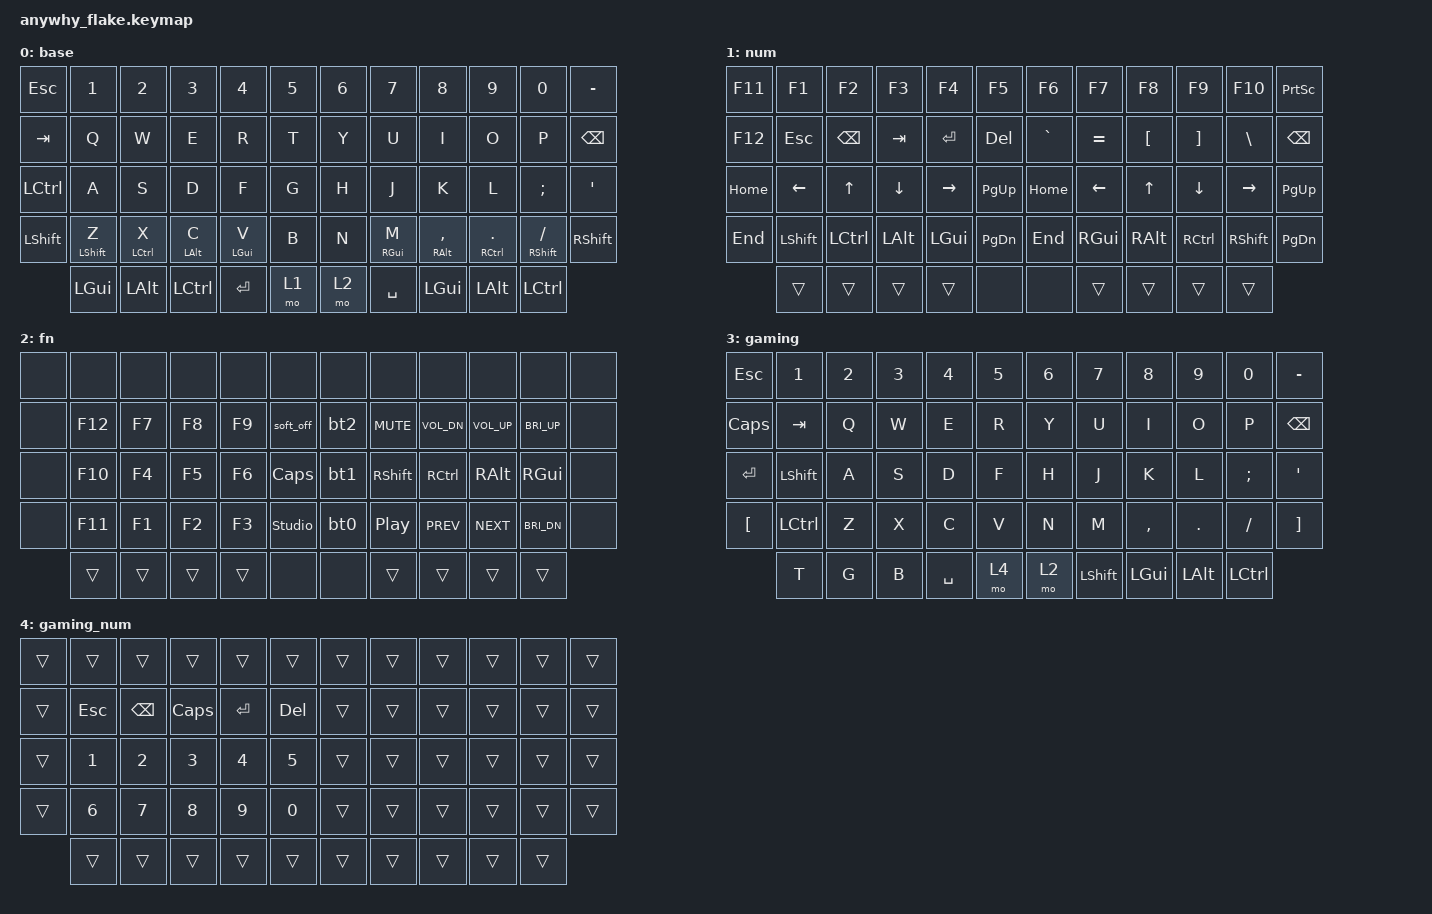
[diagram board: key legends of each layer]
#include <behaviors.dtsi>
#include <dt-bindings/zmk/bt.h>
#include <dt-bindings/zmk/keys.h>

/ {
    combos {
        compatible = "zmk,combos";

        bt_sel_3 {
            bindings = <&bt3>;
            key-positions = <42 30>;
            layers = <2>;
        };

        bt_sel_4 {
            bindings = <&bt4>;
            key-positions = <30 18>;
            layers = <2>;
        };

        enter_gaming {
            bindings = <&sl 3>;
            key-positions = <26 15 28>;
            layers = <2>;
        };

        leave_gaming {
            bindings = <&sl 0>;
            key-positions = <31 20 33>;
            layers = <4>;
        };

        grave {
            bindings = <&kp GRAVE>;
            key-positions = <13 25>;
            layers = <3>;
        };

        Combo_Backspace {
            bindings = <&kp BACKSPACE>;
            key-positions = <31 32>;
        };

        Combo_Enter {
            bindings = <&kp ENTER>;
            key-positions = <32 33>;
        };

        Combo_Tab {
            bindings = <&kp TAB>;
            key-positions = <13 14>;
        };
    };

    macros {
        bt_clr_0: bt_clr_0 {
            compatible = "zmk,behavior-macro";
            #binding-cells = <0>;
            bindings = <&bt BT_SEL 0 &bt BT_CLR>;
            label = "BT_CLR_0";
        };

        bt_clr_1: bt_clr_1 {
            compatible = "zmk,behavior-macro";
            #binding-cells = <0>;
            bindings = <&bt BT_SEL 1 &bt BT_CLR>;
            label = "BT_CLR_1";
        };

        bt_clr_2: bt_clr_2 {
            compatible = "zmk,behavior-macro";
            #binding-cells = <0>;
            bindings = <&bt BT_SEL 2 &bt BT_CLR>;
            label = "BT_CLR_2";
        };

        bt_clr_3: bt_clr_3 {
            compatible = "zmk,behavior-macro";
            #binding-cells = <0>;
            bindings = <&bt BT_SEL 3 &bt BT_CLR>;
            label = "BT_CLR_3";
        };

        bt_clr_4: bt_clr_4 {
            compatible = "zmk,behavior-macro";
            #binding-cells = <0>;
            bindings = <&bt BT_SEL 4 &bt BT_CLR>;
            label = "BT_CLR_4";
        };
    };

    behaviors {
        bt0: bt0 {
            compatible = "zmk,behavior-mod-morph";
            label = "BT0";
            bindings = <&bt BT_SEL 0>, <&bt_clr_0>;

            #binding-cells = <0>;
            mods = <(MOD_LSFT|MOD_RSFT)>;
        };

        bt1: bt1 {
            compatible = "zmk,behavior-mod-morph";
            label = "BT1";
            bindings = <&bt BT_SEL 1>, <&bt_clr_1>;

            #binding-cells = <0>;
            mods = <(MOD_LSFT|MOD_RSFT)>;
        };

        bt2: bt2 {
            compatible = "zmk,behavior-mod-morph";
            label = "BT2";
            bindings = <&bt BT_SEL 2>, <&bt_clr_2>;

            #binding-cells = <0>;
            mods = <(MOD_LSFT|MOD_RSFT)>;
        };

        bt3: bt3 {
            compatible = "zmk,behavior-mod-morph";
            label = "BT3";
            bindings = <&bt BT_SEL 3>, <&bt_clr_3>;

            #binding-cells = <0>;
            mods = <(MOD_LSFT|MOD_RSFT)>;
        };

        bt4: bt4 {
            compatible = "zmk,behavior-mod-morph";
            label = "BT4";
            bindings = <&bt BT_SEL 4>, <&bt_clr_4>;

            #binding-cells = <0>;
            mods = <(MOD_LSFT|MOD_RSFT)>;
        };

        HMR: HMR {
            compatible = "zmk,behavior-hold-tap";
            label = "HMR";
            bindings = <&kp>, <&kp>;

            #binding-cells = <2>;
            tapping-term-ms = <280>;
            quick-tap-ms = <175>;
            flavor = "tap-preferred";
            hold-trigger-on-release;
            hold-trigger-key-positions = <0 1 2 3 4 5 12 13 14 15 16 17 24 25 36 37 48 26 27 39 38 49 40 28 29 41 50 51 52 53 54 55 56 57>;
        };

        HML: HML {
            compatible = "zmk,behavior-hold-tap";
            label = "HML";
            bindings = <&kp>, <&kp>;

            #binding-cells = <2>;
            tapping-term-ms = <280>;
            quick-tap-ms = <175>;
            flavor = "tap-preferred";
            hold-trigger-key-positions = <6 7 8 9 10 11 23 35 47 46 34 22 21 33 45 56 57 55 54 53 42 43 44 32 20 19 31 30 18 52 51 50 49 48>;
            hold-trigger-on-release;
        };
    };

    keymap {
        compatible = "zmk,keymap";

        base {
            bindings = <
&kp ESC    &kp N1             &kp N2               &kp N3           &kp N4           &kp N5    &kp N6  &kp N7            &kp N8                &kp N9                  &kp N0                 &kp MINUS
&kp TAB    &kp Q              &kp W                &kp E            &kp R            &kp T     &kp Y   &kp U             &kp I                 &kp O                   &kp P                  &kp BSPC
&kp LCTRL  &kp A              &kp S                &kp D            &kp F            &kp G     &kp H   &kp J             &kp K                 &kp L                   &kp SEMI               &kp APOS
&kp LSHFT  &HML LEFT_SHIFT Z  &HML LEFT_CONTROL X  &HML LEFT_ALT C  &HML LEFT_GUI V  &kp B     &kp N   &HMR RIGHT_GUI M  &HMR RIGHT_ALT COMMA  &HMR RIGHT_CONTROL DOT  &HMR RIGHT_SHIFT FSLH  &kp RSHFT
           &kp LGUI           &kp LALT             &kp LCTRL        &kp ENTER        &mo 1     &mo 2   &kp SPACE         &kp LGUI              &kp LALT                &kp LCTRL
            >;
        };

        num {
            bindings = <
&kp F11   &kp F1          &kp F2            &kp F3        &kp F4        &kp F5           &kp F6     &kp F7         &kp F8            &kp F9             &kp F10          &kp PRINTSCREEN
&kp F12   &kp ESC         &kp BACKSPACE     &kp TAB       &kp ENTER     &kp DEL          &kp GRAVE  &kp EQUAL      &kp LEFT_BRACKET  &kp RIGHT_BRACKET  &kp BACKSLASH    &kp BACKSPACE
&kp HOME  &kp LEFT_ARROW  &kp UP_ARROW      &kp DOWN      &kp RIGHT     &kp PAGE_UP      &kp HOME   &kp LEFT       &kp UP_ARROW      &kp DOWN           &kp RIGHT        &kp PAGE_UP
&kp END   &kp LEFT_SHIFT  &kp LEFT_CONTROL  &kp LEFT_ALT  &kp LEFT_GUI  &kp PAGE_DOWN    &kp END    &kp RIGHT_GUI  &kp RIGHT_ALT     &kp RIGHT_CONTROL  &kp RIGHT_SHIFT  &kp PAGE_DOWN
          &trans          &trans            &trans        &trans        &none            &none      &trans         &trans            &trans             &trans
            >;
        };

        fn {
            bindings = <
&none  &none    &none   &none   &none   &none             &none  &none       &none         &none         &none         &none
&none  &kp F12  &kp F7  &kp F8  &kp F9  &soft_off         &bt2   &kp C_MUTE  &kp C_VOL_DN  &kp C_VOL_UP  &kp C_BRI_UP  &none
&none  &kp F10  &kp F4  &kp F5  &kp F6  &kp CAPS          &bt1   &kp RSHFT   &kp RCTRL     &kp RALT      &kp RGUI      &none
&none  &kp F11  &kp F1  &kp F2  &kp F3  &studio_unlock    &bt0   &kp C_PP    &kp C_PREV    &kp C_NEXT    &kp C_BRI_DN  &none
       &trans   &trans  &trans  &trans  &none             &none  &trans      &trans        &trans        &trans
            >;
        };

        gaming {
            bindings = <
&kp ESC    &kp N1     &kp N2  &kp N3  &kp N4     &kp N5    &kp N6  &kp N7     &kp N8     &kp N9    &kp N0     &kp MINUS
&kp CAPS   &kp TAB    &kp Q   &kp W   &kp E      &kp R     &kp Y   &kp U      &kp I      &kp O     &kp P      &kp BSPC
&kp ENTER  &kp LSHFT  &kp A   &kp S   &kp D      &kp F     &kp H   &kp J      &kp K      &kp L     &kp SEMI   &kp APOS
&kp LBKT   &kp LCTRL  &kp Z   &kp X   &kp C      &kp V     &kp N   &kp M      &kp COMMA  &kp DOT   &kp FSLH   &kp RBKT
           &kp T      &kp G   &kp B   &kp SPACE  &mo 4     &mo 2   &kp LSHFT  &kp LGUI   &kp LALT  &kp LCTRL
            >;
        };

        gaming_num {
            bindings = <
&trans  &trans   &trans    &trans    &trans     &trans     &trans  &trans  &trans  &trans  &trans  &trans
&trans  &kp ESC  &kp BSPC  &kp CAPS  &kp ENTER  &kp DEL    &trans  &trans  &trans  &trans  &trans  &trans
&trans  &kp N1   &kp N2    &kp N3    &kp N4     &kp N5     &trans  &trans  &trans  &trans  &trans  &trans
&trans  &kp N6   &kp N7    &kp N8    &kp N9     &kp N0     &trans  &trans  &trans  &trans  &trans  &trans
        &trans   &trans    &trans    &trans     &trans     &trans  &trans  &trans  &trans  &trans
            >;
        };
    };
};
